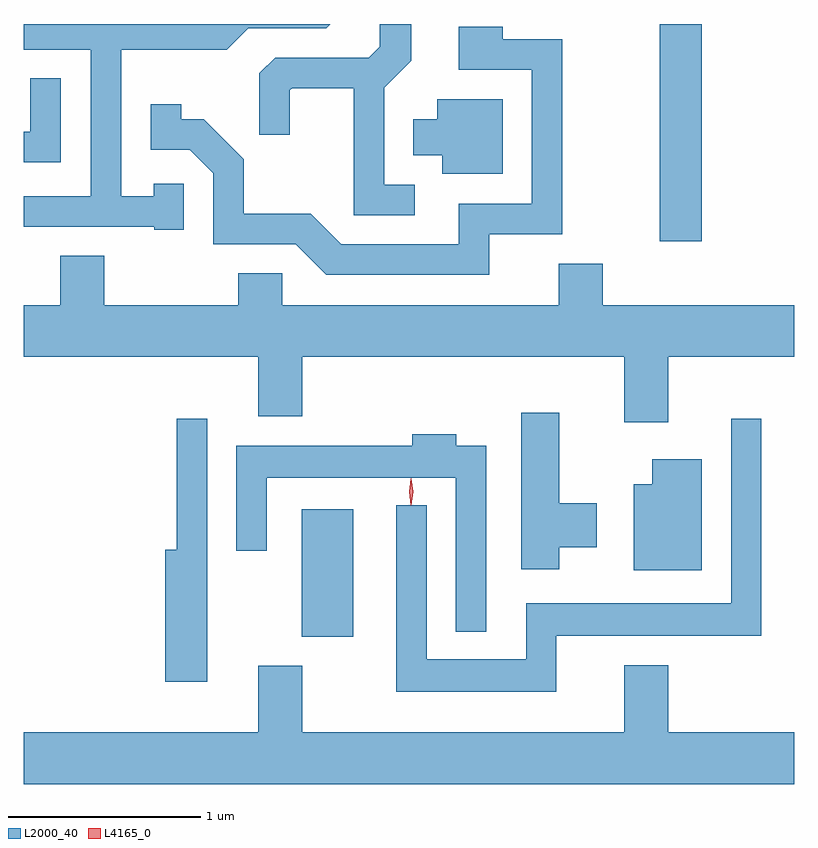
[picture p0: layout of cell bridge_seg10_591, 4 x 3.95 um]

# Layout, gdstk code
import gdstk
lib = gdstk.Library(unit=1e-6, precision=1e-09)
def R(c, l, rs):  # rectangles x0, y0, x1, y1
    for r in rs: c.add(gdstk.rectangle(r[:2], r[2:], *l))
def P(c, l, *ps):  # polygons
    for p in ps: c.add(gdstk.Polygon(p, *l))
L2000_40 = (2000, 40)
L4165_0 = (4165, 0)

bridge_seg10_591 = lib.new_cell('bridge_seg10_591')
R(bridge_seg10_591, L2000_40, [(837.976,2136.881,838.244,2137.544), (839.836,2138.936,840.054,2140.064)])
P(bridge_seg10_591, L2000_40, [(838.563,2139.229),(838.404,2139.229),(838.404,2139.734),(838.544,2139.874),(838.544,2140.064),(838.381,2140.064),(838.381,2139.947),(838.324,2139.889),(837.837,2139.889),(837.756,2139.809),(837.756,2139.488),(837.914,2139.488),(837.914,2139.719),(837.927,2139.731),(838.246,2139.731),(838.246,2139.071),(838.563,2139.071)],
  [(837.364,2139.233),(837.206,2139.233),(837.206,2139.169),(837.039,2139.169),(837.039,2139.931),(837.587,2139.931),(837.697,2140.041),(838.102,2140.041),(838.125,2140.064),(836.533,2140.064),(836.533,2139.931),(836.881,2139.931),(836.881,2139.169),(836.533,2139.169),(836.533,2139.011),(837.21,2139.011),(837.21,2138.996),(837.364,2138.996)],
  [(838.949,2138.971),(839.329,2138.971),(839.329,2139.984),(839.019,2139.984),(839.019,2140.049),(838.791,2140.049),(838.791,2139.826),(839.171,2139.826),(839.171,2139.129),(838.791,2139.129),(838.791,2138.919),(838.182,2138.919),(838.022,2139.079),(837.674,2139.079),(837.674,2139.362),(837.467,2139.569),(837.349,2139.569),(837.349,2139.648),(837.191,2139.648),(837.191,2139.411),(837.394,2139.411),(837.516,2139.289),(837.516,2138.921),(837.944,2138.921),(838.104,2138.761),(838.949,2138.761)],
  [(836.724,2139.783),(836.566,2139.783),(836.566,2139.504),(836.533,2139.504),(836.533,2139.346),(836.724,2139.346)],
  [(839.019,2139.674),(838.681,2139.674),(838.681,2139.569),(838.556,2139.569),(838.556,2139.381),(838.706,2139.381),(838.706,2139.286),(839.019,2139.286)],
  [(839.539,2138.819),(839.311,2138.819),(839.311,2138.604),(837.874,2138.604),(837.874,2138.769),(837.646,2138.769),(837.646,2138.604),(836.949,2138.604),(836.949,2138.859),(836.721,2138.859),(836.721,2138.604),(836.533,2138.604),(836.533,2138.336),(837.751,2138.336),(837.751,2138.026),(837.979,2138.026),(837.979,2138.336),(839.651,2138.336),(839.651,2137.996),(839.879,2137.996),(839.879,2138.336),(840.533,2138.336),(840.533,2138.604),(839.539,2138.604)],
  [(839.314,2137.346),(839.509,2137.346),(839.509,2137.574),(839.314,2137.574),(839.314,2138.044),(839.116,2138.044),(839.116,2137.231),(839.314,2137.231)],
  [(837.484,2138.013),(837.326,2138.013),(837.326,2137.334),(837.266,2137.334),(837.266,2136.646),(837.484,2136.646)],
  [(839.299,2136.886),(840.364,2136.886),(840.364,2138.013),(840.206,2138.013),(840.206,2137.054),(839.141,2137.054),(839.141,2136.764),(838.624,2136.764),(838.624,2137.563),(838.466,2137.563),(838.466,2136.596),(839.299,2136.596)],
  [(838.934,2137.874),(838.779,2137.874),(838.779,2137.934),(838.551,2137.934),(838.551,2137.874),(837.636,2137.874),(837.636,2137.328),(837.794,2137.328),(837.794,2137.706),(838.776,2137.706),(838.776,2136.908),(838.934,2136.908)],
  [(840.054,2137.804),(839.796,2137.804),(839.796,2137.674),(839.701,2137.674),(839.701,2137.226),(840.054,2137.226)],
  [(840.533,2136.384),(839.879,2136.384),(839.879,2136.734),(839.651,2136.734),(839.651,2136.384),(837.979,2136.384),(837.979,2136.729),(837.751,2136.729),(837.751,2136.384),(836.533,2136.384),(836.533,2136.116),(840.533,2136.116)])
P(bridge_seg10_591, L4165_0, [(838.543,2137.564),(838.534,2137.633),(838.543,2137.702),(838.544,2137.703),(838.544,2137.702),(838.554,2137.633),(838.544,2137.564),(838.544,2137.564)],
  [(838.544,2137.567),(838.544,2137.568),(838.534,2137.634),(838.544,2137.7),(838.544,2137.7),(838.545,2137.7),(838.554,2137.634),(838.545,2137.568)])

lib.write_gds('bridge_seg10_591.gds')
